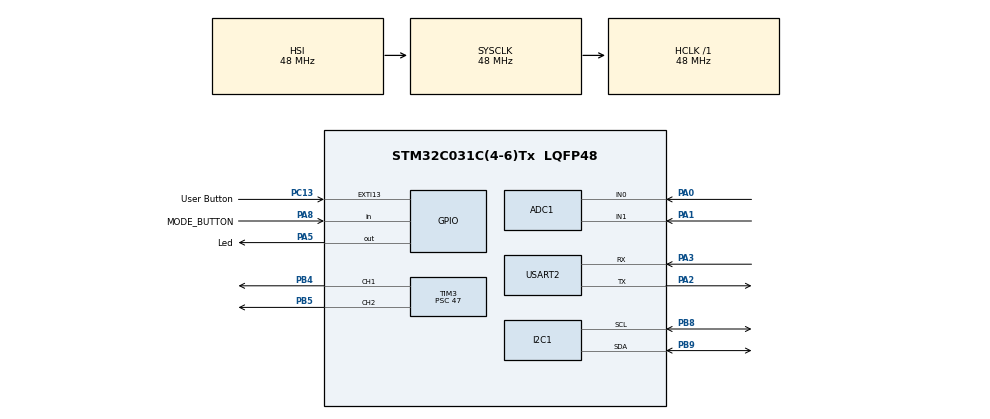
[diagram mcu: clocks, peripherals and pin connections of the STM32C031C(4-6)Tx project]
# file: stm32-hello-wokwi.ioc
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ADC1.Channel-0\#ChannelRegularConversion=ADC_CHANNEL_0
ADC1.NbrOfConversionFlag=1
ADC1.Rank-0\#ChannelRegularConversion=1
ADC1.SamplingTime-0\#ChannelRegularConversion=ADC_SAMPLINGTIME_COMMON_1
ADC1.SelectedChannel=ADC_CHANNEL_0|ADC_CHANNEL_1
ADC1.master=1
I2C1.Timing=0x20303E5D
Mcu.Family=STM32C0
Mcu.Name=STM32C031C(4-6)Tx
Mcu.Package=LQFP48
NVIC.EXTI4_15_IRQn=true\:0\:0\:false\:false\:true\:true\:true\:true
PA0.Mode=IN0
PA0.Signal=ADC1_IN0
PA1.Mode=IN1
PA1.Signal=ADC1_IN1
PA13.Mode=Serial_Wire
PA13.Signal=DEBUG_SWDIO
PA14-BOOT0.Mode=Serial_Wire
PA14-BOOT0.Signal=DEBUG_SWCLK
PA2.Mode=Asynchronous
PA2.Signal=USART2_TX
PA3.Mode=Asynchronous
PA3.Signal=USART2_RX
PA5.GPIO_Label=Led
PA5.GPIO_Speed=GPIO_SPEED_FREQ_VERY_HIGH
PA5.PinState=GPIO_PIN_SET
PA5.Signal=GPIO_Output
PA8.GPIO_Label=MODE_BUTTON
PA8.GPIO_PuPd=GPIO_PULLUP
PA8.Signal=GPIO_Input
PB4.Signal=S_TIM3_CH1
PB5.Signal=S_TIM3_CH2
PB8.Mode=I2C
PB8.Signal=I2C1_SCL
PB9.Mode=I2C
PB9.Signal=I2C1_SDA
PC13.GPIO_Label=User Button
PC13.Signal=GPXTI13
PC14-OSCX_IN\ (PC14).Mode=LSE-External-Oscillator
PC14-OSCX_IN\ (PC14).Signal=RCC_OSCX_IN
PC15-OSCX_OUT\ (PC15).Mode=LSE-External-Oscillator
PC15-OSCX_OUT\ (PC15).Signal=RCC_OSCX_OUT
PF0-OSC_IN\ (PF0).Mode=HSE-External-Oscillator
PF0-OSC_IN\ (PF0).Signal=RCC_OSC_IN
PF1-OSC_OUT\ (PF1).Mode=HSE-External-Oscillator
PF1-OSC_OUT\ (PF1).Signal=RCC_OSC_OUT
ProjectManager.HeapSize=0x200
ProjectManager.StackSize=0x400
ProjectManager.TargetToolchain=Makefile
RCC.ADCFreq_Value=48000000
RCC.AHBFreq_Value=48000000
RCC.CortexFreq_Value=48000000
RCC.EXTERNAL_CLOCK_VALUE=12288000
RCC.HCLKFreq_Value=48000000
RCC.HSE_VALUE=48000000
RCC.HSISYSCLKDivider=RCC_HSI_DIV1
RCC.HSI_VALUE=48000000
RCC.SYSCLKFreq_VALUE=48000000
SH.S_TIM3_CH1.0=TIM3_CH1,PWM Generation1 CH1
SH.S_TIM3_CH2.0=TIM3_CH2,PWM Generation2 CH2
TIM3.Channel-PWM\ Generation1\ CH1=TIM_CHANNEL_1
TIM3.Channel-PWM\ Generation2\ CH2=TIM_CHANNEL_2
TIM3.Period=19999
TIM3.Prescaler=47
TIM3.Pulse-PWM\ Generation1\ CH1=1500
TIM3.Pulse-PWM\ Generation2\ CH2=1500
USART2.VirtualMode-Asynchronous=VM_ASYNC
board=NUCLEO-C031C6

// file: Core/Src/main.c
/* USER CODE BEGIN Header */
/**
  ******************************************************************************
  * @file           : main.c
  * @brief          : Main program body
  ******************************************************************************
  * @attention
  *
  * Copyright (c) 2023 STMicroelectronics.
  * All rights reserved.
  *
  * This software is licensed under terms that can be found in the LICENSE file
  * in the root directory of this software component.
  * If no LICENSE file comes with this software, it is provided AS-IS.
  *
  ******************************************************************************
  */
/* USER CODE END Header */
#include "main.h"
#include "adc.h"
#include "i2c.h"
#include "tim.h"
#include "usart.h"
#include "gpio.h"

/* USER CODE BEGIN Includes */

#include <stdio.h>
#include <string.h>

/* USER CODE END Includes */

void SystemClock_Config(void);

/* USER CODE BEGIN 0 */

static void uart_print(const char *text)
{
    HAL_UART_Transmit(&huart2, (uint8_t *)text,
                      (uint16_t)strlen(text), 1000);
}

static uint16_t read_adc(uint32_t channel)
{
    ADC_ChannelConfTypeDef config = {0};

    config.Channel = channel;
    config.Rank = ADC_REGULAR_RANK_1;
    config.SamplingTime = ADC_SAMPLINGTIME_COMMON_1;

    if (HAL_ADC_ConfigChannel(&hadc1, &config) != HAL_OK)
        return 0;

    if (HAL_ADC_Start(&hadc1) != HAL_OK)
        return 0;

    uint16_t value = 0;

    if (HAL_ADC_PollForConversion(&hadc1, 100) == HAL_OK)
        value = (uint16_t)HAL_ADC_GetValue(&hadc1);

    HAL_ADC_Stop(&hadc1);
    return value;
}

static uint16_t adc_to_pulse(uint16_t value)
{
    return (uint16_t)(1000U + ((uint32_t)value * 1000U) / 4095U);
}

static uint16_t adc_to_angle(uint16_t value)
{
    return (uint16_t)(((uint32_t)value * 180U) / 4095U);
}

static void set_servo_positions(uint16_t x, uint16_t y)
{
    __HAL_TIM_SET_COMPARE(&htim3, TIM_CHANNEL_1, x);
    __HAL_TIM_SET_COMPARE(&htim3, TIM_CHANNEL_2, y);
}

/* USER CODE END 0 */

int main(void)
{

  /* MCU Configuration--------------------------------------------------------*/

  /* Reset of all peripherals, Initializes the Flash interface and the Systick. */
  HAL_Init();

  /* Configure the system clock */
  SystemClock_Config();

  /* Initialize all configured peripherals */
  MX_GPIO_Init();
  MX_I2C1_Init();
  MX_USART2_UART_Init();
  MX_ADC1_Init();
  MX_TIM3_Init();

/* USER CODE BEGIN 2 */

uart_print("\r\n=== STM32 HELIOSTAT ===\r\n");
uart_print("System initialization\r\n");

HAL_ADCEx_Calibration_Start(&hadc1);

if (HAL_TIM_PWM_Start(&htim3, TIM_CHANNEL_1) != HAL_OK)
    Error_Handler();

if (HAL_TIM_PWM_Start(&htim3, TIM_CHANNEL_2) != HAL_OK)
    Error_Handler();

set_servo_positions(1500, 1500);

uint8_t oled_found =
    HAL_I2C_IsDeviceReady(&hi2c1, 0x3C << 1, 2, 100) == HAL_OK;

uart_print(oled_found ? "OLED: FOUND\r\n" : "OLED: NOT FOUND\r\n");

uint8_t automatic_mode = 1;
uint8_t previous_button = 1;
uint32_t last_button_time = 0;
uint32_t last_update = 0;
uint32_t tick = 0;

/* USER CODE END 2 */

  /* Infinite loop */
  while (1)
  {

    /* USER CODE BEGIN 3 */

    uint32_t now = HAL_GetTick();

    uint8_t button =
        HAL_GPIO_ReadPin(GPIOA, GPIO_PIN_8) == GPIO_PIN_SET;

    if (previous_button && !button &&
        now - last_button_time >= 200U)
    {
        automatic_mode = !automatic_mode;
        last_button_time = now;

        uart_print(automatic_mode ?
                   "MODE: AUTO\r\n" :
                   "MODE: STANDBY\r\n");
    }

    previous_button = button;

    if (now - last_update >= 1000U)
    {
        last_update = now;

        uint16_t light_x = read_adc(ADC_CHANNEL_0);
        uint16_t light_y = read_adc(ADC_CHANNEL_1);

        if (automatic_mode)
        {
            set_servo_positions(
                adc_to_pulse(light_x),
                adc_to_pulse(light_y)
            );
        }

        char buffer[160];

        snprintf(buffer, sizeof(buffer),
                 "tick %lu | X=%u Y=%u | "
                 "angleX=%u angleY=%u | mode=%s\r\n",
                 (unsigned long)++tick,
                 light_x, light_y,
                 adc_to_angle(light_x),
                 adc_to_angle(light_y),
                 automatic_mode ? "AUTO" : "STANDBY");

        uart_print(buffer);
    }

    HAL_Delay(10);

  }
  /* USER CODE END 3 */
}

void SystemClock_Config(void)
{
  RCC_OscInitTypeDef RCC_OscInitStruct = {0};
  RCC_ClkInitTypeDef RCC_ClkInitStruct = {0};

  /** Initializes the RCC Oscillators according to the specified parameters
  * in the RCC_OscInitTypeDef structure.
  */
  RCC_OscInitStruct.OscillatorType = RCC_OSCILLATORTYPE_HSI;
  RCC_OscInitStruct.HSIState = RCC_HSI_ON;
  RCC_OscInitStruct.HSIDiv = RCC_HSI_DIV1;
  RCC_OscInitStruct.HSICalibrationValue = RCC_HSICALIBRATION_DEFAULT;
  if (HAL_RCC_OscConfig(&RCC_OscInitStruct) != HAL_OK)
  {
    Error_Handler();
  }

  /** Initializes the CPU, AHB and APB buses clocks
  */
  RCC_ClkInitStruct.ClockType = RCC_CLOCKTYPE_HCLK|RCC_CLOCKTYPE_SYSCLK
                              |RCC_CLOCKTYPE_PCLK1;
  RCC_ClkInitStruct.SYSCLKSource = RCC_SYSCLKSOURCE_HSI;
  RCC_ClkInitStruct.SYSCLKDivider = RCC_SYSCLK_DIV1;
  RCC_ClkInitStruct.AHBCLKDivider = RCC_HCLK_DIV1;
  RCC_ClkInitStruct.APB1CLKDivider = RCC_APB1_DIV1;

  if (HAL_RCC_ClockConfig(&RCC_ClkInitStruct, FLASH_LATENCY_1) != HAL_OK)
  {
    Error_Handler();
  }
}

void Error_Handler(void)
{
  __disable_irq();
  while (1)
  {
  }
}
